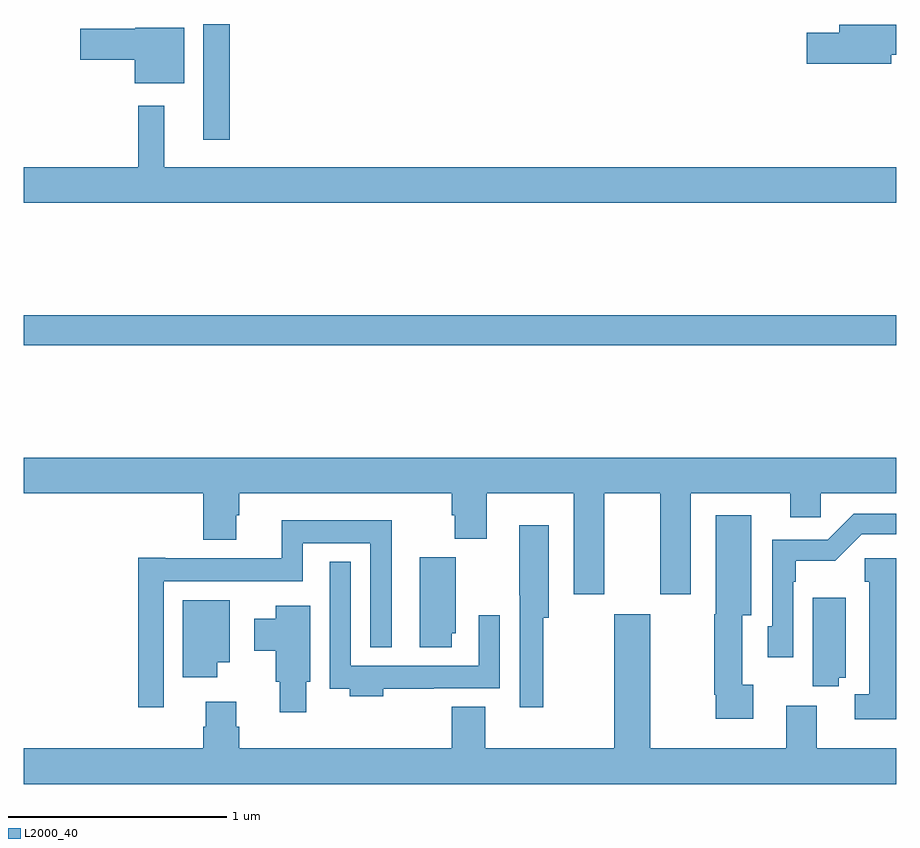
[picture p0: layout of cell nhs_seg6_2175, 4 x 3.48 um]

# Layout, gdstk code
import gdstk
lib = gdstk.Library(unit=1e-6, precision=1e-09)
def R(c, l, rs):  # rectangles x0, y0, x1, y1
    for r in rs: c.add(gdstk.rectangle(r[:2], r[2:], *l))
def P(c, l, *ps):  # polygons
    for p in ps: c.add(gdstk.Polygon(p, *l))
L2000_40 = (2000, 40)

nhs_seg6_2175 = lib.new_cell('nhs_seg6_2175')
R(nhs_seg6_2175, L2000_40, [(241,936.028,245,936.164), (241.823,936.969,241.945,937.5)])
P(nhs_seg6_2175, L2000_40, [(244.978,937.36),(245,937.36),(245,937.496),(244.739,937.496),(244.739,937.46),(244.59,937.46),(244.59,937.318),(244.978,937.318)],
  [(241.735,937.483),(241.512,937.483),(241.512,937.478),(241.26,937.478),(241.26,937.336),(241.508,937.336),(241.508,937.229),(241.735,937.229)],
  [(245,936.844),(241.645,936.844),(241.645,937.126),(241.524,937.126),(241.524,936.844),(241,936.844),(241,936.68),(245,936.68)],
  [(243.661,935.348),(243.917,935.348),(243.917,934.887),(244.057,934.887),(244.057,935.348),(244.514,935.348),(244.514,935.238),(244.653,935.238),(244.653,935.348),(245,935.348),(245,935.512),(241,935.512),(241,935.348),(241.823,935.348),(241.823,935.135),(241.975,935.135),(241.975,935.247),(241.988,935.247),(241.988,935.348),(242.963,935.348),(242.963,935.249),(242.975,935.249),(242.975,935.14),(243.123,935.14),(243.123,935.348),(243.521,935.348),(243.521,934.887),(243.661,934.887)],
  [(244.527,934.943),(244.54,934.943),(244.54,935.039),(244.721,935.039),(244.842,935.16),(245,935.16),(245,935.256),(244.806,935.256),(244.686,935.136),(244.431,935.136),(244.431,934.74),(244.41,934.74),(244.41,934.596),(244.527,934.596)],
  [(244.345,934.47),(244.294,934.47),(244.294,934.79),(244.336,934.79),(244.336,935.248),(244.172,935.248),(244.172,934.794),(244.165,934.794),(244.165,934.426),(244.172,934.426),(244.172,934.314),(244.345,934.314)],
  [(241.641,934.946),(242.28,934.946),(242.28,935.12),(242.589,935.12),(242.589,934.643),(242.686,934.643),(242.686,935.224),(242.183,935.224),(242.183,935.05),(241.648,935.05),(241.648,935.053),(241.525,935.053),(241.525,934.368),(241.641,934.368)],
  [(243.382,934.778),(243.406,934.778),(243.406,935.203),(243.272,935.203),(243.272,934.882),(243.273,934.882),(243.273,934.368),(243.382,934.368)],
  [(242.962,934.707),(242.98,934.707),(242.98,935.055),(242.816,935.055),(242.816,934.644),(242.962,934.644)],
  [(245,935.05),(244.855,935.05),(244.855,934.944),(244.877,934.944),(244.877,934.428),(244.809,934.428),(244.809,934.313),(245,934.313)],
  [(242.648,934.452),(242.879,934.452),(242.879,934.454),(243.183,934.454),(243.183,934.789),(243.087,934.789),(243.087,934.558),(242.499,934.558),(242.499,935.035),(242.403,935.035),(242.403,934.452),(242.495,934.452),(242.495,934.418),(242.648,934.418)],
  [(244.736,934.502),(244.768,934.502),(244.768,934.87),(244.616,934.87),(244.616,934.465),(244.736,934.465)],
  [(241.888,934.574),(241.945,934.574),(241.945,934.858),(241.73,934.858),(241.73,934.506),(241.888,934.506)],
  [(242.296,934.485),(242.314,934.485),(242.314,934.834),(242.156,934.834),(242.156,934.774),(242.057,934.774),(242.057,934.627),(242.156,934.627),(242.156,934.485),(242.174,934.485),(242.174,934.344),(242.296,934.344)],
  [(245,934.18),(244.636,934.18),(244.636,934.375),(244.496,934.375),(244.496,934.18),(243.871,934.18),(243.871,934.795),(243.707,934.795),(243.707,934.18),(243.115,934.18),(243.115,934.369),(242.963,934.369),(242.963,934.18),(241.988,934.18),(241.988,934.278),(241.975,934.278),(241.975,934.393),(241.835,934.393),(241.835,934.278),(241.823,934.278),(241.823,934.18),(241,934.18),(241,934.016),(245,934.016)])

lib.write_gds('nhs_seg6_2175.gds')
